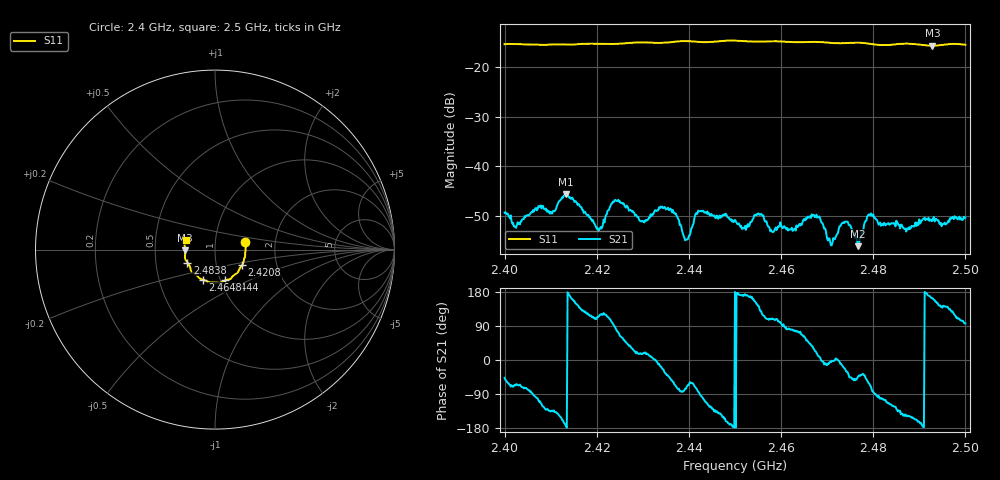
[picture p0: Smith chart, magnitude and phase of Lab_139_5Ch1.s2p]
# Hz S RI R 50
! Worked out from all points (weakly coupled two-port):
!   601 points, 2.4 GHz to 2.5 GHz, reference 50 ohm
!   highest |S21| = -45.72 dB at 2.4133 GHz (marker M1); lowest = -56.2 dB at 2.4767 GHz (marker M2)
!   lowest |S11| = -15.6 dB at 2.4928 GHz (marker M3), VSWR 1.40, Z = 35.8 - j0.331 ohm
!   |S11| at or under -10 dB: start of sweep to end of sweep
!   S12 and S22 are empty: the file has one direction only
!   S11 on the Smith chart (normalised r, x): 2.4 GHz: 1.39, +0.12; 2.4208 GHz: 1.33, -0.24; 2.444 GHz: 1.06, -0.37; 2.4648 GHz: 0.83, -0.29; 2.4838 GHz: 0.73, -0.11; 2.5 GHz: 0.72, +0.08
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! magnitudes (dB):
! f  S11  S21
! 2.4 GHz  -15.3  -49.4
! 2.4025 GHz  -15.2  -52.5
! 2.4133 GHz  -15.3  -45.7
! 2.4167 GHz  -15.2  -48.3
! 2.4208 GHz  -15.2  -52.3
! 2.4242 GHz  -15.2  -47.0
! 2.4298 GHz  -14.9  -51.1
! 2.4333 GHz  -15.0  -48.9
! 2.437 GHz  -14.8  -49.7
! 2.4393 GHz  -14.7  -54.9
! 2.444 GHz  -14.9  -49.2
! 2.45 GHz  -14.6  -50.9
! 2.4648 GHz  -14.9  -50.9
! 2.4667 GHz  -14.8  -49.7
! 2.4707 GHz  -15.0  -55.4
! 2.474 GHz  -15.0  -51.2
! 2.4767 GHz  -15.0  -56.2
! 2.4792 GHz  -15.2  -49.9
! 2.4833 GHz  -15.4  -51.5
! 2.4838 GHz  -15.4  -51.7
! 2.4928 GHz  -15.6  -51.0
! 2.5 GHz  -15.4  -50.4
